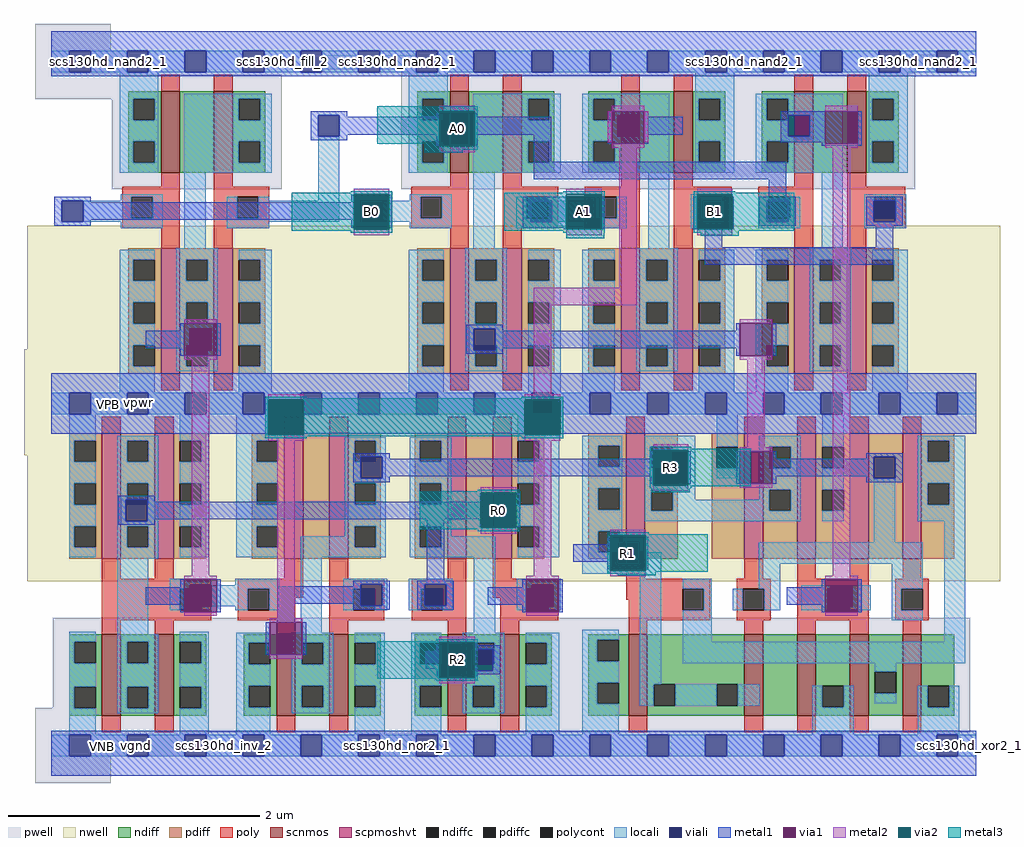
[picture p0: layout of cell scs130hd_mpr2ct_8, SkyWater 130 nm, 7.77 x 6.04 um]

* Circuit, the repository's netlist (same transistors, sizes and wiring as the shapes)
* NGSPICE file created from scs130hd_mpr2ct_8.ext - technology: sky130A

.subckt scs130hd_mpr2ct_8 A1 A0 B0 B1 R0 R1 R2 R3 VNB vgnd VPB vpwr
X0 vpwr B1 a_1131_911# VPB sky130_fd_pr__pfet_01v8_hvt ad=0.26 pd=2.52 as=0.135 ps=1.27 w=1 l=0.15
X1 vgnd a_1131_911# a_1133_47# VNB sky130_fd_pr__nfet_01v8 ad=0.08775 pd=0.92 as=0.08775 ps=0.92 w=0.65 l=0.15
X2 vpwr A1 a_665_591# VPB sky130_fd_pr__pfet_01v8_hvt ad=0.26 pd=2.52 as=0.135 ps=1.27 w=1 l=0.15
X3 vgnd a_665_591# a_915_232# VNB sky130_fd_pr__nfet_01v8 ad=0.169 pd=1.82 as=0.08775 ps=0.92 w=0.65 l=0.15
X4 a_1131_911# A0 vpwr VPB sky130_fd_pr__pfet_01v8_hvt ad=0.135 pd=1.27 as=0.26 ps=2.52 w=1 l=0.15
X5 R3 a_443_21# a_401_297# VPB sky130_fd_pr__pfet_01v8_hvt ad=0.26 pd=2.52 as=0.105 ps=1.21 w=1 l=0.15
X6 a_945_297# a_665_591# vpwr VPB sky130_fd_pr__pfet_01v8_hvt ad=0.135 pd=1.27 as=0.26 ps=2.52 w=1 l=0.15
X7 a_665_591# B0 vpwr VPB sky130_fd_pr__pfet_01v8_hvt ad=0.135 pd=1.27 as=0.26 ps=2.52 w=1 l=0.15
X8 vpwr a_443_21# a_661_297# VPB sky130_fd_pr__pfet_01v8_hvt ad=0.26 pd=2.52 as=0.105 ps=1.21 w=1 l=0.15
X9 R0 a_81_21# vpwr VPB sky130_fd_pr__pfet_01v8_hvt ad=0.135 pd=1.27 as=0.26 ps=2.52 w=1 l=0.15
X10 a_401_297# a_81_21# vpwr VPB sky130_fd_pr__pfet_01v8_hvt ad=0.105 pd=1.21 as=0.26 ps=2.52 w=1 l=0.15
X11 R1 a_915_232# vgnd VNB sky130_fd_pr__nfet_01v8 ad=0.25025 pd=1.42 as=0.208 ps=1.94 w=0.65 l=0.15
X12 vgnd B1 a_937_911# VNB sky130_fd_pr__nfet_01v8 ad=0.169 pd=1.82 as=0.08775 ps=0.92 w=0.65 l=0.15
X13 vgnd B1 a_1213_911# VNB sky130_fd_pr__nfet_01v8 ad=0.169 pd=1.82 as=0.08775 ps=0.92 w=0.65 l=0.15
X14 a_443_21# A1 vpwr VPB sky130_fd_pr__pfet_01v8_hvt ad=0.135 pd=1.27 as=0.26 ps=2.52 w=1 l=0.15
X15 vgnd a_443_21# R3 VNB sky130_fd_pr__nfet_01v8 ad=0.169 pd=1.82 as=0.08775 ps=0.92 w=0.65 l=0.15
X16 a_661_297# R0 R2 VPB sky130_fd_pr__pfet_01v8_hvt ad=0.105 pd=1.21 as=0.26 ps=2.52 w=1 l=0.15
X17 vgnd a_81_21# R0 VNB sky130_fd_pr__nfet_01v8 ad=0.169 pd=1.82 as=0.08775 ps=0.92 w=0.65 l=0.15
X18 a_665_591# A1 a_665_911# VNB sky130_fd_pr__nfet_01v8 ad=0.169 pd=1.82 as=0.08775 ps=0.92 w=0.65 l=0.15
X19 R0 a_81_21# vgnd VNB sky130_fd_pr__nfet_01v8 ad=0.08775 pd=0.92 as=0.169 ps=1.82 w=0.65 l=0.15
X20 a_1213_911# A0 a_1131_911# VNB sky130_fd_pr__nfet_01v8 ad=0.08775 pd=0.92 as=0.169 ps=1.82 w=0.65 l=0.15
X21 a_665_911# B0 vgnd VNB sky130_fd_pr__nfet_01v8 ad=0.08775 pd=0.92 as=0.169 ps=1.82 w=0.65 l=0.15
X22 vpwr A0 a_81_21# VPB sky130_fd_pr__pfet_01v8_hvt ad=0.26 pd=2.52 as=0.135 ps=1.27 w=1 l=0.15
X23 a_915_232# a_665_591# a_1301_297# VPB sky130_fd_pr__pfet_01v8_hvt ad=0.26 pd=2.52 as=0.135 ps=1.27 w=1 l=0.15
X24 R3 a_81_21# vgnd VNB sky130_fd_pr__nfet_01v8 ad=0.08775 pd=0.92 as=0.169 ps=1.82 w=0.65 l=0.15
X25 a_81_21# B0 vpwr VPB sky130_fd_pr__pfet_01v8_hvt ad=0.135 pd=1.27 as=0.26 ps=2.52 w=1 l=0.15
X26 a_1301_297# a_1131_911# vpwr VPB sky130_fd_pr__pfet_01v8_hvt ad=0.135 pd=1.27 as=0.135 ps=1.27 w=1 l=0.15
X27 a_937_911# A1 a_443_21# VNB sky130_fd_pr__nfet_01v8 ad=0.08775 pd=0.92 as=0.169 ps=1.82 w=0.65 l=0.15
X28 a_945_297# a_915_232# R1 VPB sky130_fd_pr__pfet_01v8_hvt ad=0.26 pd=2.52 as=0.3 ps=2.6 w=1 l=0.15
X29 R2 R0 vgnd VNB sky130_fd_pr__nfet_01v8 ad=0.08775 pd=0.92 as=0.169 ps=1.82 w=0.65 l=0.15
X30 a_1133_47# a_665_591# R1 VNB sky130_fd_pr__nfet_01v8 ad=0.08775 pd=0.92 as=0.25025 ps=1.42 w=0.65 l=0.15
X31 vpwr a_1131_911# a_945_297# VPB sky130_fd_pr__pfet_01v8_hvt ad=0.135 pd=1.27 as=0.135 ps=1.27 w=1 l=0.15
X32 a_915_232# a_1131_911# vgnd VNB sky130_fd_pr__nfet_01v8 ad=0.08775 pd=0.92 as=0.08775 ps=0.92 w=0.65 l=0.15
X33 vpwr a_81_21# R0 VPB sky130_fd_pr__pfet_01v8_hvt ad=0.26 pd=2.52 as=0.135 ps=1.27 w=1 l=0.15
X34 a_81_21# A0 a_205_911# VNB sky130_fd_pr__nfet_01v8 ad=0.169 pd=1.82 as=0.08775 ps=0.92 w=0.65 l=0.15
X35 a_205_911# B0 vgnd VNB sky130_fd_pr__nfet_01v8 ad=0.08775 pd=0.92 as=0.169 ps=1.82 w=0.65 l=0.15
X36 vpwr B1 a_443_21# VPB sky130_fd_pr__pfet_01v8_hvt ad=0.26 pd=2.52 as=0.135 ps=1.27 w=1 l=0.15
X37 vgnd a_443_21# R2 VNB sky130_fd_pr__nfet_01v8 ad=0.169 pd=1.82 as=0.08775 ps=0.92 w=0.65 l=0.15
.ends

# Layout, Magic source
magic
tech sky130A
magscale 1 2
<< nwell >>
rect -38 630 1510 827
rect -43 462 1510 630
rect -38 261 1510 462
<< pwell >>
rect -25 1105 95 1148
rect -25 1067 154 1105
rect 580 1098 614 1105
rect 399 1076 614 1098
rect 557 1067 614 1076
rect 1042 1067 1076 1105
rect 1318 1099 1352 1105
rect 1318 1077 1432 1099
rect 1318 1067 1375 1077
rect -25 1028 367 1067
rect 97 885 367 1028
rect 557 885 1375 1067
rect 3 60 1463 203
rect -25 21 1463 60
rect -25 -17 247 21
rect 488 -17 616 21
rect 1409 -17 1443 21
rect -25 -60 95 -17
<< scnmos >>
rect 175 911 205 1041
rect 259 911 289 1041
rect 635 911 665 1041
rect 719 911 749 1041
rect 907 911 937 1041
rect 991 911 1021 1041
rect 1183 911 1213 1041
rect 1267 911 1297 1041
rect 81 47 111 177
rect 165 47 195 177
rect 359 47 389 177
rect 443 47 473 177
rect 631 47 661 177
rect 715 47 745 177
rect 919 47 949 177
rect 1103 47 1133 177
rect 1187 47 1217 177
rect 1271 47 1301 177
rect 1355 47 1385 177
<< scpmoshvt >>
rect 175 591 205 791
rect 259 591 289 791
rect 635 591 665 791
rect 719 591 749 791
rect 907 591 937 791
rect 991 591 1021 791
rect 1183 591 1213 791
rect 1267 591 1297 791
rect 81 297 111 497
rect 165 297 195 497
rect 371 297 401 497
rect 443 297 473 497
rect 631 297 661 497
rect 703 297 733 497
rect 915 297 945 497
rect 1103 297 1133 497
rect 1187 297 1217 497
rect 1271 297 1301 497
rect 1355 297 1385 497
<< ndiff >>
rect 123 1029 175 1041
rect 123 995 131 1029
rect 165 995 175 1029
rect 123 961 175 995
rect 123 927 131 961
rect 165 927 175 961
rect 123 911 175 927
rect 205 911 259 1041
rect 289 1029 341 1041
rect 289 995 299 1029
rect 333 995 341 1029
rect 289 961 341 995
rect 289 927 299 961
rect 333 927 341 961
rect 289 911 341 927
rect 583 1029 635 1041
rect 583 995 591 1029
rect 625 995 635 1029
rect 583 961 635 995
rect 583 927 591 961
rect 625 927 635 961
rect 583 911 635 927
rect 665 911 719 1041
rect 749 1029 801 1041
rect 749 995 759 1029
rect 793 995 801 1029
rect 749 961 801 995
rect 749 927 759 961
rect 793 927 801 961
rect 749 911 801 927
rect 855 1029 907 1041
rect 855 995 863 1029
rect 897 995 907 1029
rect 855 961 907 995
rect 855 927 863 961
rect 897 927 907 961
rect 855 911 907 927
rect 937 911 991 1041
rect 1021 1029 1073 1041
rect 1021 995 1031 1029
rect 1065 995 1073 1029
rect 1021 961 1073 995
rect 1021 927 1031 961
rect 1065 927 1073 961
rect 1021 911 1073 927
rect 1131 1029 1183 1041
rect 1131 995 1139 1029
rect 1173 995 1183 1029
rect 1131 961 1183 995
rect 1131 927 1139 961
rect 1173 927 1183 961
rect 1131 911 1183 927
rect 1213 911 1267 1041
rect 1297 1029 1349 1041
rect 1297 995 1307 1029
rect 1341 995 1349 1029
rect 1297 961 1349 995
rect 1297 927 1307 961
rect 1341 927 1349 961
rect 1297 911 1349 927
rect 29 165 81 177
rect 29 131 37 165
rect 71 131 81 165
rect 29 93 81 131
rect 29 59 37 93
rect 71 59 81 93
rect 29 47 81 59
rect 111 165 165 177
rect 111 131 121 165
rect 155 131 165 165
rect 111 93 165 131
rect 111 59 121 93
rect 155 59 165 93
rect 111 47 165 59
rect 195 165 247 177
rect 195 131 205 165
rect 239 131 247 165
rect 195 93 247 131
rect 195 59 205 93
rect 239 59 247 93
rect 195 47 247 59
rect 307 163 359 177
rect 307 129 315 163
rect 349 129 359 163
rect 307 95 359 129
rect 307 61 315 95
rect 349 61 359 95
rect 307 47 359 61
rect 389 163 443 177
rect 389 129 399 163
rect 433 129 443 163
rect 389 95 443 129
rect 389 61 399 95
rect 433 61 443 95
rect 389 47 443 61
rect 473 163 525 177
rect 473 129 483 163
rect 517 129 525 163
rect 473 95 525 129
rect 473 61 483 95
rect 517 61 525 95
rect 473 47 525 61
rect 579 163 631 177
rect 579 129 587 163
rect 621 129 631 163
rect 579 95 631 129
rect 579 61 587 95
rect 621 61 631 95
rect 579 47 631 61
rect 661 163 715 177
rect 661 129 671 163
rect 705 129 715 163
rect 661 95 715 129
rect 661 61 671 95
rect 705 61 715 95
rect 661 47 715 61
rect 745 163 797 177
rect 745 129 755 163
rect 789 129 797 163
rect 745 95 797 129
rect 745 61 755 95
rect 789 61 797 95
rect 745 47 797 61
rect 855 168 919 177
rect 855 134 869 168
rect 903 134 919 168
rect 855 100 919 134
rect 855 66 869 100
rect 903 66 919 100
rect 855 47 919 66
rect 949 97 1103 177
rect 949 63 959 97
rect 993 63 1059 97
rect 1093 63 1103 97
rect 949 47 1103 63
rect 1133 47 1187 177
rect 1217 95 1271 177
rect 1217 61 1227 95
rect 1261 61 1271 95
rect 1217 47 1271 61
rect 1301 117 1355 177
rect 1301 83 1311 117
rect 1345 83 1355 117
rect 1301 47 1355 83
rect 1385 95 1437 177
rect 1385 61 1395 95
rect 1429 61 1437 95
rect 1385 47 1437 61
<< pdiff >>
rect 123 773 175 791
rect 123 739 131 773
rect 165 739 175 773
rect 123 705 175 739
rect 123 671 131 705
rect 165 671 175 705
rect 123 637 175 671
rect 123 603 131 637
rect 165 603 175 637
rect 123 591 175 603
rect 205 773 259 791
rect 205 739 215 773
rect 249 739 259 773
rect 205 705 259 739
rect 205 671 215 705
rect 249 671 259 705
rect 205 637 259 671
rect 205 603 215 637
rect 249 603 259 637
rect 205 591 259 603
rect 289 773 341 791
rect 289 739 299 773
rect 333 739 341 773
rect 289 705 341 739
rect 289 671 299 705
rect 333 671 341 705
rect 289 637 341 671
rect 289 603 299 637
rect 333 603 341 637
rect 289 591 341 603
rect 583 773 635 791
rect 583 739 591 773
rect 625 739 635 773
rect 583 705 635 739
rect 583 671 591 705
rect 625 671 635 705
rect 583 637 635 671
rect 583 603 591 637
rect 625 603 635 637
rect 583 591 635 603
rect 665 773 719 791
rect 665 739 675 773
rect 709 739 719 773
rect 665 705 719 739
rect 665 671 675 705
rect 709 671 719 705
rect 665 637 719 671
rect 665 603 675 637
rect 709 603 719 637
rect 665 591 719 603
rect 749 773 801 791
rect 749 739 759 773
rect 793 739 801 773
rect 749 705 801 739
rect 749 671 759 705
rect 793 671 801 705
rect 749 637 801 671
rect 749 603 759 637
rect 793 603 801 637
rect 749 591 801 603
rect 855 773 907 791
rect 855 739 863 773
rect 897 739 907 773
rect 855 705 907 739
rect 855 671 863 705
rect 897 671 907 705
rect 855 637 907 671
rect 855 603 863 637
rect 897 603 907 637
rect 855 591 907 603
rect 937 773 991 791
rect 937 739 947 773
rect 981 739 991 773
rect 937 705 991 739
rect 937 671 947 705
rect 981 671 991 705
rect 937 637 991 671
rect 937 603 947 637
rect 981 603 991 637
rect 937 591 991 603
rect 1021 773 1073 791
rect 1021 739 1031 773
rect 1065 739 1073 773
rect 1021 705 1073 739
rect 1021 671 1031 705
rect 1065 671 1073 705
rect 1021 637 1073 671
rect 1021 603 1031 637
rect 1065 603 1073 637
rect 1021 591 1073 603
rect 1131 773 1183 791
rect 1131 739 1139 773
rect 1173 739 1183 773
rect 1131 705 1183 739
rect 1131 671 1139 705
rect 1173 671 1183 705
rect 1131 637 1183 671
rect 1131 603 1139 637
rect 1173 603 1183 637
rect 1131 591 1183 603
rect 1213 773 1267 791
rect 1213 739 1223 773
rect 1257 739 1267 773
rect 1213 705 1267 739
rect 1213 671 1223 705
rect 1257 671 1267 705
rect 1213 637 1267 671
rect 1213 603 1223 637
rect 1257 603 1267 637
rect 1213 591 1267 603
rect 1297 773 1349 791
rect 1297 739 1307 773
rect 1341 739 1349 773
rect 1297 705 1349 739
rect 1297 671 1307 705
rect 1341 671 1349 705
rect 1297 637 1349 671
rect 1297 603 1307 637
rect 1341 603 1349 637
rect 1297 591 1349 603
rect 29 485 81 497
rect 29 451 37 485
rect 71 451 81 485
rect 29 417 81 451
rect 29 383 37 417
rect 71 383 81 417
rect 29 349 81 383
rect 29 315 37 349
rect 71 315 81 349
rect 29 297 81 315
rect 111 485 165 497
rect 111 451 121 485
rect 155 451 165 485
rect 111 417 165 451
rect 111 383 121 417
rect 155 383 165 417
rect 111 349 165 383
rect 111 315 121 349
rect 155 315 165 349
rect 111 297 165 315
rect 195 485 247 497
rect 195 451 205 485
rect 239 451 247 485
rect 195 417 247 451
rect 195 383 205 417
rect 239 383 247 417
rect 195 349 247 383
rect 195 315 205 349
rect 239 315 247 349
rect 195 297 247 315
rect 319 485 371 497
rect 319 451 327 485
rect 361 451 371 485
rect 319 417 371 451
rect 319 383 327 417
rect 361 383 371 417
rect 319 349 371 383
rect 319 315 327 349
rect 361 315 371 349
rect 319 297 371 315
rect 401 297 443 497
rect 473 485 525 497
rect 473 451 483 485
rect 517 451 525 485
rect 473 417 525 451
rect 473 383 483 417
rect 517 383 525 417
rect 473 349 525 383
rect 473 315 483 349
rect 517 315 525 349
rect 473 297 525 315
rect 579 485 631 497
rect 579 451 587 485
rect 621 451 631 485
rect 579 417 631 451
rect 579 383 587 417
rect 621 383 631 417
rect 579 349 631 383
rect 579 315 587 349
rect 621 315 631 349
rect 579 297 631 315
rect 661 297 703 497
rect 733 485 785 497
rect 733 451 743 485
rect 777 451 785 485
rect 733 417 785 451
rect 733 383 743 417
rect 777 383 785 417
rect 733 349 785 383
rect 733 315 743 349
rect 777 315 785 349
rect 733 297 785 315
rect 855 477 915 497
rect 855 443 871 477
rect 905 443 915 477
rect 855 409 915 443
rect 855 375 871 409
rect 905 375 915 409
rect 855 341 915 375
rect 855 307 871 341
rect 905 307 915 341
rect 855 297 915 307
rect 945 475 997 497
rect 945 441 955 475
rect 989 441 997 475
rect 945 407 997 441
rect 945 373 955 407
rect 989 373 997 407
rect 945 297 997 373
rect 1051 475 1103 497
rect 1051 441 1059 475
rect 1093 441 1103 475
rect 1051 297 1103 441
rect 1133 475 1187 497
rect 1133 441 1143 475
rect 1177 441 1187 475
rect 1133 407 1187 441
rect 1133 373 1143 407
rect 1177 373 1187 407
rect 1133 297 1187 373
rect 1217 475 1271 497
rect 1217 441 1227 475
rect 1261 441 1271 475
rect 1217 407 1271 441
rect 1217 373 1227 407
rect 1261 373 1271 407
rect 1217 297 1271 373
rect 1301 297 1355 497
rect 1385 485 1437 497
rect 1385 451 1395 485
rect 1429 451 1437 485
rect 1385 417 1437 451
rect 1385 383 1395 417
rect 1429 383 1437 417
rect 1385 297 1437 383
<< ndiffc >>
rect 131 995 165 1029
rect 131 927 165 961
rect 299 995 333 1029
rect 299 927 333 961
rect 591 995 625 1029
rect 591 927 625 961
rect 759 995 793 1029
rect 759 927 793 961
rect 863 995 897 1029
rect 863 927 897 961
rect 1031 995 1065 1029
rect 1031 927 1065 961
rect 1139 995 1173 1029
rect 1139 927 1173 961
rect 1307 995 1341 1029
rect 1307 927 1341 961
rect 37 131 71 165
rect 37 59 71 93
rect 121 131 155 165
rect 121 59 155 93
rect 205 131 239 165
rect 205 59 239 93
rect 315 129 349 163
rect 315 61 349 95
rect 399 129 433 163
rect 399 61 433 95
rect 483 129 517 163
rect 483 61 517 95
rect 587 129 621 163
rect 587 61 621 95
rect 671 129 705 163
rect 671 61 705 95
rect 755 129 789 163
rect 755 61 789 95
rect 869 134 903 168
rect 869 66 903 100
rect 959 63 993 97
rect 1059 63 1093 97
rect 1227 61 1261 95
rect 1311 83 1345 117
rect 1395 61 1429 95
<< pdiffc >>
rect 131 739 165 773
rect 131 671 165 705
rect 131 603 165 637
rect 215 739 249 773
rect 215 671 249 705
rect 215 603 249 637
rect 299 739 333 773
rect 299 671 333 705
rect 299 603 333 637
rect 591 739 625 773
rect 591 671 625 705
rect 591 603 625 637
rect 675 739 709 773
rect 675 671 709 705
rect 675 603 709 637
rect 759 739 793 773
rect 759 671 793 705
rect 759 603 793 637
rect 863 739 897 773
rect 863 671 897 705
rect 863 603 897 637
rect 947 739 981 773
rect 947 671 981 705
rect 947 603 981 637
rect 1031 739 1065 773
rect 1031 671 1065 705
rect 1031 603 1065 637
rect 1139 739 1173 773
rect 1139 671 1173 705
rect 1139 603 1173 637
rect 1223 739 1257 773
rect 1223 671 1257 705
rect 1223 603 1257 637
rect 1307 739 1341 773
rect 1307 671 1341 705
rect 1307 603 1341 637
rect 37 451 71 485
rect 37 383 71 417
rect 37 315 71 349
rect 121 451 155 485
rect 121 383 155 417
rect 121 315 155 349
rect 205 451 239 485
rect 205 383 239 417
rect 205 315 239 349
rect 327 451 361 485
rect 327 383 361 417
rect 327 315 361 349
rect 483 451 517 485
rect 483 383 517 417
rect 483 315 517 349
rect 587 451 621 485
rect 587 383 621 417
rect 587 315 621 349
rect 743 451 777 485
rect 743 383 777 417
rect 743 315 777 349
rect 871 443 905 477
rect 871 375 905 409
rect 871 307 905 341
rect 955 441 989 475
rect 955 373 989 407
rect 1059 441 1093 475
rect 1143 441 1177 475
rect 1143 373 1177 407
rect 1227 441 1261 475
rect 1227 373 1261 407
rect 1395 451 1429 485
rect 1395 383 1429 417
<< poly >>
rect 175 1041 205 1067
rect 259 1041 289 1067
rect 635 1041 665 1067
rect 719 1041 749 1067
rect 907 1041 937 1067
rect 991 1041 1021 1067
rect 1183 1041 1213 1067
rect 1267 1041 1297 1067
rect 175 889 205 911
rect 113 873 205 889
rect 113 839 128 873
rect 162 839 205 873
rect 113 823 205 839
rect 175 791 205 823
rect 259 889 289 911
rect 635 889 665 911
rect 259 873 347 889
rect 259 839 296 873
rect 330 839 347 873
rect 259 823 347 839
rect 573 873 665 889
rect 573 839 588 873
rect 622 839 665 873
rect 573 823 665 839
rect 259 791 289 823
rect 635 791 665 823
rect 719 889 749 911
rect 907 889 937 911
rect 719 873 807 889
rect 719 839 756 873
rect 790 839 807 873
rect 719 823 807 839
rect 849 873 937 889
rect 849 839 866 873
rect 900 839 937 873
rect 849 823 937 839
rect 719 791 749 823
rect 907 791 937 823
rect 991 889 1021 911
rect 1183 889 1213 911
rect 991 873 1083 889
rect 991 839 1034 873
rect 1068 839 1083 873
rect 991 823 1083 839
rect 1125 873 1213 889
rect 1125 839 1142 873
rect 1176 839 1213 873
rect 1125 823 1213 839
rect 991 791 1021 823
rect 1183 791 1213 823
rect 1267 889 1297 911
rect 1267 873 1359 889
rect 1267 839 1310 873
rect 1344 839 1359 873
rect 1267 823 1359 839
rect 1267 791 1297 823
rect 175 565 205 591
rect 259 565 289 591
rect 635 565 665 591
rect 719 565 749 591
rect 907 565 937 591
rect 991 565 1021 591
rect 1183 565 1213 591
rect 1267 565 1297 591
rect 81 497 111 523
rect 165 497 195 523
rect 371 497 401 523
rect 443 497 473 523
rect 631 497 661 523
rect 703 497 733 523
rect 915 497 945 523
rect 1103 497 1133 523
rect 1187 497 1217 523
rect 1271 497 1301 523
rect 1355 497 1385 523
rect 81 265 111 297
rect 165 265 195 297
rect 371 265 401 297
rect 81 249 255 265
rect 81 215 205 249
rect 239 215 255 249
rect 81 199 255 215
rect 297 249 401 265
rect 297 215 313 249
rect 347 235 401 249
rect 443 265 473 297
rect 631 265 661 297
rect 443 249 530 265
rect 347 215 389 235
rect 297 199 389 215
rect 81 177 111 199
rect 165 177 195 199
rect 359 177 389 199
rect 443 215 481 249
rect 515 215 530 249
rect 443 199 530 215
rect 574 249 661 265
rect 574 215 589 249
rect 623 215 661 249
rect 703 265 733 297
rect 915 265 945 297
rect 1103 265 1133 297
rect 1187 265 1217 297
rect 1271 265 1301 297
rect 1355 265 1385 297
rect 703 249 807 265
rect 703 235 757 249
rect 574 199 661 215
rect 443 177 473 199
rect 631 177 661 199
rect 715 215 757 235
rect 791 215 807 249
rect 915 249 1049 265
rect 915 232 1005 249
rect 715 199 807 215
rect 919 215 1005 232
rect 1039 215 1049 249
rect 919 199 1049 215
rect 1091 249 1145 265
rect 1091 215 1101 249
rect 1135 215 1145 249
rect 1091 199 1145 215
rect 1187 249 1301 265
rect 1187 215 1236 249
rect 1270 215 1301 249
rect 1187 199 1301 215
rect 1343 249 1397 265
rect 1343 215 1353 249
rect 1387 215 1397 249
rect 1343 199 1397 215
rect 715 177 745 199
rect 919 177 949 199
rect 1103 177 1133 199
rect 1187 177 1217 199
rect 1271 177 1301 199
rect 1355 177 1385 199
rect 81 21 111 47
rect 165 21 195 47
rect 359 21 389 47
rect 443 21 473 47
rect 631 21 661 47
rect 715 21 745 47
rect 919 21 949 47
rect 1103 21 1133 47
rect 1187 21 1217 47
rect 1271 21 1301 47
rect 1355 21 1385 47
<< polycont >>
rect 128 839 162 873
rect 296 839 330 873
rect 588 839 622 873
rect 756 839 790 873
rect 866 839 900 873
rect 1034 839 1068 873
rect 1142 839 1176 873
rect 1310 839 1344 873
rect 205 215 239 249
rect 313 215 347 249
rect 481 215 515 249
rect 589 215 623 249
rect 757 215 791 249
rect 1005 215 1039 249
rect 1101 215 1135 249
rect 1236 215 1270 249
rect 1353 215 1387 249
<< locali >>
rect 0 1071 29 1105
rect 63 1071 121 1105
rect 155 1071 213 1105
rect 247 1071 305 1105
rect 339 1071 397 1105
rect 431 1071 489 1105
rect 523 1071 581 1105
rect 615 1071 673 1105
rect 707 1071 765 1105
rect 799 1071 857 1105
rect 891 1071 949 1105
rect 983 1071 1041 1105
rect 1075 1071 1133 1105
rect 1167 1071 1225 1105
rect 1259 1071 1317 1105
rect 1351 1071 1409 1105
rect 1443 1071 1472 1105
rect 109 1029 171 1071
rect 109 995 131 1029
rect 165 995 171 1029
rect 109 961 171 995
rect 109 927 131 961
rect 165 927 171 961
rect 109 911 171 927
rect 212 1029 351 1037
rect 212 995 299 1029
rect 333 995 351 1029
rect 569 1029 631 1071
rect 212 961 351 995
rect 212 927 299 961
rect 333 927 351 961
rect 212 911 351 927
rect 111 873 178 877
rect 111 867 128 873
rect 51 839 128 867
rect 162 839 178 873
rect 51 833 178 839
rect 111 823 178 833
rect 212 791 246 911
rect 280 839 296 873
rect 330 867 347 873
rect 425 867 459 969
rect 569 995 591 1029
rect 625 995 631 1029
rect 569 961 631 995
rect 569 927 591 961
rect 625 927 631 961
rect 569 911 631 927
rect 672 1029 811 1037
rect 672 995 759 1029
rect 793 995 811 1029
rect 672 961 811 995
rect 672 927 759 961
rect 793 927 811 961
rect 672 911 811 927
rect 845 1029 984 1037
rect 845 995 863 1029
rect 897 1003 984 1029
rect 897 995 901 1003
rect 845 969 901 995
rect 935 969 984 1003
rect 845 961 984 969
rect 845 927 863 961
rect 897 927 984 961
rect 845 911 984 927
rect 1025 1029 1087 1071
rect 1025 995 1031 1029
rect 1065 995 1087 1029
rect 1025 961 1087 995
rect 1025 927 1031 961
rect 1065 927 1087 961
rect 1025 911 1087 927
rect 1121 1029 1260 1037
rect 1121 995 1139 1029
rect 1173 1003 1260 1029
rect 1121 969 1173 995
rect 1207 969 1260 1003
rect 1121 961 1260 969
rect 1121 927 1139 961
rect 1173 927 1260 961
rect 1121 911 1260 927
rect 1301 1029 1363 1071
rect 1301 995 1307 1029
rect 1341 995 1363 1029
rect 1301 961 1363 995
rect 1301 927 1307 961
rect 1341 927 1363 961
rect 1301 911 1363 927
rect 571 873 638 877
rect 571 867 588 873
rect 330 839 459 867
rect 280 833 459 839
rect 527 839 588 867
rect 622 839 638 873
rect 527 833 638 839
rect 280 823 347 833
rect 571 823 638 833
rect 672 791 706 911
rect 740 839 756 873
rect 790 867 807 873
rect 849 867 866 873
rect 797 839 866 867
rect 900 839 916 873
rect 740 833 763 839
rect 797 833 916 839
rect 740 823 807 833
rect 849 823 916 833
rect 950 791 984 911
rect 1018 873 1085 877
rect 1018 839 1034 873
rect 1068 867 1085 873
rect 1018 833 1037 839
rect 1071 833 1085 867
rect 1018 823 1085 833
rect 1125 867 1142 873
rect 1125 833 1139 867
rect 1176 839 1192 873
rect 1173 833 1192 839
rect 1125 823 1192 833
rect 1226 791 1260 911
rect 1294 873 1361 877
rect 1294 867 1310 873
rect 1294 833 1309 867
rect 1344 839 1361 873
rect 1343 833 1361 839
rect 1294 823 1361 833
rect 109 773 165 789
rect 109 739 131 773
rect 109 705 165 739
rect 109 671 131 705
rect 109 637 165 671
rect 109 603 131 637
rect 109 561 165 603
rect 199 773 265 791
rect 199 739 215 773
rect 249 739 265 773
rect 199 705 265 739
rect 199 671 215 705
rect 249 671 265 705
rect 199 663 265 671
rect 199 637 221 663
rect 199 603 215 637
rect 255 629 265 663
rect 249 603 265 629
rect 199 595 265 603
rect 299 773 351 789
rect 333 739 351 773
rect 299 705 351 739
rect 333 671 351 705
rect 299 637 351 671
rect 333 603 351 637
rect 299 561 351 603
rect 569 773 625 789
rect 569 739 591 773
rect 569 705 625 739
rect 569 671 591 705
rect 569 637 625 671
rect 569 603 591 637
rect 569 561 625 603
rect 659 773 725 791
rect 659 739 675 773
rect 709 739 725 773
rect 659 705 725 739
rect 659 671 675 705
rect 709 671 725 705
rect 659 663 725 671
rect 659 629 673 663
rect 707 637 725 663
rect 659 603 675 629
rect 709 603 725 637
rect 659 595 725 603
rect 759 773 811 789
rect 793 739 811 773
rect 759 705 811 739
rect 793 671 811 705
rect 759 637 811 671
rect 793 603 811 637
rect 759 561 811 603
rect 845 773 897 789
rect 845 739 863 773
rect 845 705 897 739
rect 845 671 863 705
rect 845 637 897 671
rect 845 603 863 637
rect 845 561 897 603
rect 931 773 997 791
rect 931 739 947 773
rect 981 739 997 773
rect 931 705 997 739
rect 931 671 947 705
rect 981 671 997 705
rect 931 637 997 671
rect 931 603 947 637
rect 981 603 997 637
rect 931 595 997 603
rect 1031 773 1087 789
rect 1065 739 1087 773
rect 1031 705 1087 739
rect 1065 671 1087 705
rect 1031 637 1087 671
rect 1065 603 1087 637
rect 1031 561 1087 603
rect 1121 773 1173 789
rect 1121 739 1139 773
rect 1121 705 1173 739
rect 1121 671 1139 705
rect 1121 637 1173 671
rect 1121 603 1139 637
rect 1121 561 1173 603
rect 1207 773 1273 791
rect 1207 739 1223 773
rect 1257 739 1273 773
rect 1207 705 1273 739
rect 1207 671 1223 705
rect 1257 671 1273 705
rect 1207 637 1273 671
rect 1207 603 1223 637
rect 1257 603 1273 637
rect 1207 595 1273 603
rect 1307 773 1363 789
rect 1341 739 1363 773
rect 1307 705 1363 739
rect 1341 671 1363 705
rect 1307 637 1363 671
rect 1341 603 1363 637
rect 1307 561 1363 603
rect 0 527 29 561
rect 63 527 121 561
rect 155 527 213 561
rect 247 527 305 561
rect 339 527 397 561
rect 431 527 489 561
rect 523 527 581 561
rect 615 527 673 561
rect 707 527 765 561
rect 799 527 857 561
rect 891 527 949 561
rect 983 527 1041 561
rect 1075 527 1133 561
rect 1167 527 1225 561
rect 1259 527 1317 561
rect 1351 527 1409 561
rect 1443 527 1472 561
rect 29 485 71 527
rect 29 451 37 485
rect 29 417 71 451
rect 29 383 37 417
rect 29 349 71 383
rect 29 315 37 349
rect 29 299 71 315
rect 105 485 171 493
rect 105 451 121 485
rect 155 451 171 485
rect 105 417 171 451
rect 105 391 121 417
rect 105 357 119 391
rect 155 383 171 417
rect 153 357 171 383
rect 105 349 171 357
rect 105 315 121 349
rect 155 315 171 349
rect 105 297 171 315
rect 205 485 251 527
rect 239 451 251 485
rect 205 417 251 451
rect 239 383 251 417
rect 205 349 251 383
rect 239 315 251 349
rect 205 299 251 315
rect 295 485 361 527
rect 295 451 327 485
rect 295 417 361 451
rect 295 383 327 417
rect 295 349 361 383
rect 295 315 327 349
rect 467 485 533 490
rect 467 451 483 485
rect 517 459 533 485
rect 467 425 493 451
rect 527 425 533 459
rect 467 417 533 425
rect 467 383 483 417
rect 517 383 533 417
rect 467 349 533 383
rect 467 333 483 349
rect 295 299 361 315
rect 397 315 483 333
rect 517 315 533 349
rect 397 299 533 315
rect 571 485 637 490
rect 571 451 587 485
rect 621 451 637 485
rect 571 417 637 451
rect 571 383 587 417
rect 621 383 637 417
rect 571 349 637 383
rect 571 315 587 349
rect 621 333 637 349
rect 743 485 809 527
rect 777 451 809 485
rect 743 417 809 451
rect 777 383 809 417
rect 743 349 809 383
rect 621 315 707 333
rect 571 299 707 315
rect 777 315 809 349
rect 743 299 809 315
rect 845 477 909 493
rect 845 443 871 477
rect 905 443 909 477
rect 845 409 909 443
rect 845 375 871 409
rect 905 375 909 409
rect 845 341 909 375
rect 945 475 1025 493
rect 945 441 955 475
rect 989 441 1025 475
rect 945 407 1025 441
rect 1059 475 1093 527
rect 1059 425 1093 441
rect 1127 475 1193 493
rect 1127 441 1143 475
rect 1177 441 1193 475
rect 945 373 955 407
rect 989 391 1025 407
rect 1127 407 1193 441
rect 1127 391 1143 407
rect 989 373 1143 391
rect 1177 373 1193 407
rect 945 357 1193 373
rect 1227 475 1261 527
rect 1379 485 1455 493
rect 1227 407 1261 441
rect 1227 357 1261 373
rect 845 307 871 341
rect 905 323 909 341
rect 1309 323 1343 425
rect 1379 451 1395 485
rect 1429 451 1455 485
rect 1379 417 1455 451
rect 1379 383 1395 417
rect 1429 383 1455 417
rect 1379 357 1455 383
rect 29 165 71 181
rect 29 131 37 165
rect 29 93 71 131
rect 29 59 37 93
rect 29 17 71 59
rect 105 177 155 297
rect 189 255 255 265
rect 293 255 363 265
rect 189 249 221 255
rect 255 249 363 255
rect 189 215 205 249
rect 255 221 313 249
rect 239 215 255 221
rect 293 215 313 221
rect 347 215 363 249
rect 105 165 171 177
rect 105 131 121 165
rect 155 131 171 165
rect 105 93 171 131
rect 105 59 121 93
rect 155 59 171 93
rect 105 51 171 59
rect 205 165 251 181
rect 397 179 431 299
rect 465 256 535 265
rect 465 249 493 256
rect 465 215 481 249
rect 527 222 535 256
rect 515 215 535 222
rect 569 256 639 265
rect 569 249 595 256
rect 569 215 589 249
rect 629 222 639 256
rect 623 215 639 222
rect 673 179 707 299
rect 845 289 901 307
rect 935 289 971 307
rect 845 273 971 289
rect 741 255 811 265
rect 741 249 765 255
rect 741 215 757 249
rect 799 221 811 255
rect 791 215 811 221
rect 239 131 251 165
rect 205 93 251 131
rect 239 59 251 93
rect 205 17 251 59
rect 295 163 349 179
rect 295 129 315 163
rect 295 95 349 129
rect 295 61 315 95
rect 295 17 349 61
rect 383 163 449 179
rect 383 129 399 163
rect 433 129 449 163
rect 383 95 449 129
rect 383 61 399 95
rect 433 61 449 95
rect 383 51 449 61
rect 483 163 531 179
rect 517 129 531 163
rect 483 95 531 129
rect 517 61 531 95
rect 483 17 531 61
rect 573 163 621 179
rect 573 129 587 163
rect 573 95 621 129
rect 573 61 587 95
rect 573 17 621 61
rect 655 163 721 179
rect 655 153 671 163
rect 655 119 669 153
rect 705 129 721 163
rect 703 119 721 129
rect 655 95 721 119
rect 655 61 671 95
rect 705 61 721 95
rect 655 51 721 61
rect 755 163 809 179
rect 789 129 809 163
rect 755 95 809 129
rect 789 61 809 95
rect 755 17 809 61
rect 845 168 903 184
rect 845 134 869 168
rect 845 100 903 134
rect 845 66 869 100
rect 845 17 903 66
rect 937 97 971 273
rect 1126 289 1387 323
rect 1005 249 1051 265
rect 1126 249 1160 289
rect 1039 215 1051 249
rect 1085 215 1101 249
rect 1135 215 1160 249
rect 1194 249 1241 255
rect 1194 215 1236 249
rect 1275 221 1304 255
rect 1270 215 1304 221
rect 1338 249 1387 289
rect 1338 215 1353 249
rect 1005 165 1051 215
rect 1338 199 1387 215
rect 1421 165 1455 357
rect 1005 131 1455 165
rect 1311 117 1345 131
rect 937 63 959 97
rect 993 63 1059 97
rect 1093 63 1128 97
rect 1211 61 1227 95
rect 1261 61 1277 95
rect 1311 67 1345 83
rect 1211 17 1277 61
rect 1379 61 1395 95
rect 1429 61 1445 95
rect 1379 17 1445 61
rect 0 -17 29 17
rect 63 -17 121 17
rect 155 -17 213 17
rect 247 -17 305 17
rect 339 -17 397 17
rect 431 -17 489 17
rect 523 -17 581 17
rect 615 -17 673 17
rect 707 -17 765 17
rect 799 -17 857 17
rect 891 -17 949 17
rect 983 -17 1041 17
rect 1075 -17 1133 17
rect 1167 -17 1225 17
rect 1259 -17 1317 17
rect 1351 -17 1409 17
rect 1443 -17 1472 17
<< viali >>
rect 29 1071 63 1105
rect 121 1071 155 1105
rect 213 1071 247 1105
rect 305 1071 339 1105
rect 397 1071 431 1105
rect 489 1071 523 1105
rect 581 1071 615 1105
rect 673 1071 707 1105
rect 765 1071 799 1105
rect 857 1071 891 1105
rect 949 1071 983 1105
rect 1041 1071 1075 1105
rect 1133 1071 1167 1105
rect 1225 1071 1259 1105
rect 1317 1071 1351 1105
rect 1409 1071 1443 1105
rect 425 969 459 1003
rect 17 833 51 867
rect 901 969 935 1003
rect 1173 969 1207 1003
rect 493 833 527 867
rect 763 839 790 867
rect 790 839 797 867
rect 763 833 797 839
rect 1037 839 1068 867
rect 1068 839 1071 867
rect 1037 833 1071 839
rect 1139 839 1142 867
rect 1142 839 1173 867
rect 1139 833 1173 839
rect 1309 839 1310 867
rect 1310 839 1343 867
rect 1309 833 1343 839
rect 221 637 255 663
rect 221 629 249 637
rect 249 629 255 637
rect 673 637 707 663
rect 673 629 675 637
rect 675 629 707 637
rect 29 527 63 561
rect 121 527 155 561
rect 213 527 247 561
rect 305 527 339 561
rect 397 527 431 561
rect 489 527 523 561
rect 581 527 615 561
rect 673 527 707 561
rect 765 527 799 561
rect 857 527 891 561
rect 949 527 983 561
rect 1041 527 1075 561
rect 1133 527 1167 561
rect 1225 527 1259 561
rect 1317 527 1351 561
rect 1409 527 1443 561
rect 119 383 121 391
rect 121 383 153 391
rect 119 357 153 383
rect 493 451 517 459
rect 517 451 527 459
rect 493 425 527 451
rect 1309 425 1343 459
rect 901 307 905 323
rect 905 307 935 323
rect 221 249 255 255
rect 221 221 239 249
rect 239 221 255 249
rect 493 249 527 256
rect 493 222 515 249
rect 515 222 527 249
rect 595 249 629 256
rect 595 222 623 249
rect 623 222 629 249
rect 901 289 935 307
rect 765 249 799 255
rect 765 221 791 249
rect 791 221 799 249
rect 669 129 671 153
rect 671 129 703 153
rect 669 119 703 129
rect 1241 249 1275 255
rect 1241 221 1270 249
rect 1270 221 1275 249
rect 29 -17 63 17
rect 121 -17 155 17
rect 213 -17 247 17
rect 305 -17 339 17
rect 397 -17 431 17
rect 489 -17 523 17
rect 581 -17 615 17
rect 673 -17 707 17
rect 765 -17 799 17
rect 857 -17 891 17
rect 949 -17 983 17
rect 1041 -17 1075 17
rect 1133 -17 1167 17
rect 1225 -17 1259 17
rect 1317 -17 1351 17
rect 1409 -17 1443 17
<< metal1 >>
rect 0 1105 1472 1136
rect 0 1071 29 1105
rect 63 1071 121 1105
rect 155 1071 213 1105
rect 247 1071 305 1105
rect 339 1071 397 1105
rect 431 1071 489 1105
rect 523 1071 581 1105
rect 615 1071 673 1105
rect 707 1071 765 1105
rect 799 1071 857 1105
rect 891 1071 949 1105
rect 983 1071 1041 1105
rect 1075 1071 1133 1105
rect 1167 1071 1225 1105
rect 1259 1071 1317 1105
rect 1351 1071 1409 1105
rect 1443 1071 1472 1105
rect 0 1065 1472 1071
rect 413 1003 471 1009
rect 413 969 425 1003
rect 459 1000 471 1003
rect 614 1000 620 1006
rect 459 972 620 1000
rect 459 969 471 972
rect 413 963 471 969
rect 613 966 620 972
rect 614 954 620 966
rect 672 1000 678 1006
rect 672 972 796 1000
rect 672 966 679 972
rect 672 954 678 966
rect 768 929 796 972
rect 886 957 892 1009
rect 944 1000 950 1009
rect 1161 1003 1232 1009
rect 944 972 1005 1000
rect 944 957 950 972
rect 1161 969 1173 1003
rect 1207 969 1232 1003
rect 1161 960 1232 969
rect 1226 957 1232 960
rect 1284 957 1290 1009
rect 1226 954 1290 957
rect 768 901 1170 929
rect 5 867 63 873
rect 5 833 17 867
rect 51 864 63 867
rect 478 864 484 876
rect 51 836 484 864
rect 51 833 63 836
rect 5 827 63 833
rect 478 824 484 836
rect 536 824 542 876
rect 1142 873 1170 901
rect 751 867 822 873
rect 751 833 763 867
rect 797 833 822 867
rect 751 824 822 833
rect 816 821 822 824
rect 874 821 880 873
rect 1022 821 1028 873
rect 1080 821 1086 873
rect 1127 867 1185 873
rect 1127 833 1139 867
rect 1173 833 1185 867
rect 1127 827 1185 833
rect 1297 867 1355 873
rect 1297 833 1309 867
rect 1343 833 1355 867
rect 1297 827 1355 833
rect 1040 793 1068 821
rect 1312 793 1340 827
rect 1040 765 1340 793
rect 206 660 212 672
rect 151 632 212 660
rect 206 620 212 632
rect 264 620 270 672
rect 661 663 719 669
rect 661 629 673 663
rect 707 660 719 663
rect 1090 660 1096 672
rect 707 632 1096 660
rect 707 629 719 632
rect 661 623 719 629
rect 1090 620 1096 632
rect 1148 620 1154 672
rect 0 561 1472 592
rect 0 527 29 561
rect 63 527 121 561
rect 155 527 213 561
rect 247 527 305 561
rect 339 527 397 561
rect 431 527 489 561
rect 523 527 581 561
rect 615 527 673 561
rect 707 527 765 561
rect 799 527 857 561
rect 891 527 949 561
rect 983 527 1041 561
rect 1075 527 1133 561
rect 1167 527 1225 561
rect 1259 527 1317 561
rect 1351 527 1409 561
rect 1443 527 1472 561
rect 0 496 1472 527
rect 481 459 539 465
rect 481 425 493 459
rect 527 456 539 459
rect 954 456 960 468
rect 527 428 960 456
rect 527 425 539 428
rect 481 419 539 425
rect 954 416 960 428
rect 1012 416 1018 468
rect 1090 416 1096 468
rect 1148 456 1154 468
rect 1297 459 1355 465
rect 1297 456 1309 459
rect 1148 428 1309 456
rect 1148 416 1154 428
rect 1297 425 1309 428
rect 1343 425 1355 459
rect 1297 419 1355 425
rect 107 391 165 397
rect 107 357 119 391
rect 153 388 165 391
rect 682 388 688 400
rect 153 360 688 388
rect 153 357 165 360
rect 107 351 165 357
rect 206 252 212 264
rect 151 224 212 252
rect 206 212 212 224
rect 264 212 270 264
rect 598 262 626 360
rect 682 348 688 360
rect 740 348 746 400
rect 886 320 892 332
rect 831 292 892 320
rect 886 280 892 292
rect 944 280 950 332
rect 481 256 539 262
rect 481 253 493 256
rect 360 225 493 253
rect 360 196 388 225
rect 481 222 493 225
rect 527 222 539 256
rect 481 216 539 222
rect 583 256 641 262
rect 583 222 595 256
rect 629 222 641 256
rect 750 252 756 264
rect 695 224 756 252
rect 583 216 641 222
rect 750 212 756 224
rect 808 212 814 264
rect 1226 252 1232 264
rect 1171 224 1232 252
rect 1226 212 1232 224
rect 1284 212 1290 264
rect 342 144 348 196
rect 400 144 406 196
rect 614 150 620 162
rect 672 159 678 162
rect 672 153 715 159
rect 596 122 620 150
rect 614 110 620 122
rect 703 119 715 153
rect 672 113 715 119
rect 672 110 678 113
rect 0 17 1472 23
rect 0 -17 29 17
rect 63 -17 121 17
rect 155 -17 213 17
rect 247 -17 305 17
rect 339 -17 397 17
rect 431 -17 489 17
rect 523 -17 581 17
rect 615 -17 673 17
rect 707 -17 765 17
rect 799 -17 857 17
rect 891 -17 949 17
rect 983 -17 1041 17
rect 1075 -17 1133 17
rect 1167 -17 1225 17
rect 1259 -17 1317 17
rect 1351 -17 1409 17
rect 1443 -17 1472 17
rect 0 -48 1472 -17
<< via1 >>
rect 620 954 672 1006
rect 892 1003 944 1009
rect 892 969 901 1003
rect 901 969 935 1003
rect 935 969 944 1003
rect 892 957 944 969
rect 1232 957 1284 1009
rect 484 867 536 876
rect 484 833 493 867
rect 493 833 527 867
rect 527 833 536 867
rect 484 824 536 833
rect 822 821 874 873
rect 1028 867 1080 873
rect 1028 833 1037 867
rect 1037 833 1071 867
rect 1071 833 1080 867
rect 1028 821 1080 833
rect 212 663 264 672
rect 212 629 221 663
rect 221 629 255 663
rect 255 629 264 663
rect 212 620 264 629
rect 1096 620 1148 672
rect 960 416 1012 468
rect 1096 416 1148 468
rect 212 255 264 264
rect 212 221 221 255
rect 221 221 255 255
rect 255 221 264 255
rect 212 212 264 221
rect 688 348 740 400
rect 892 323 944 332
rect 892 289 901 323
rect 901 289 935 323
rect 935 289 944 323
rect 892 280 944 289
rect 756 255 808 264
rect 756 221 765 255
rect 765 221 799 255
rect 799 221 808 255
rect 756 212 808 221
rect 1232 255 1284 264
rect 1232 221 1241 255
rect 1241 221 1275 255
rect 1275 221 1284 255
rect 1232 212 1284 221
rect 348 144 400 196
rect 620 153 672 162
rect 620 119 669 153
rect 669 119 672 153
rect 620 110 672 119
<< metal2 >>
rect 618 1009 674 1018
rect 892 1009 944 1018
rect 1232 1009 1284 1018
rect 886 960 892 1009
rect 618 944 674 953
rect 944 960 950 1009
rect 892 951 944 957
rect 1232 951 1284 957
rect 482 877 538 886
rect 482 812 538 821
rect 820 877 876 886
rect 820 812 876 821
rect 904 728 932 951
rect 1028 877 1084 886
rect 1028 812 1084 821
rect 768 700 932 728
rect 212 672 264 678
rect 212 614 264 620
rect 224 270 252 614
rect 768 559 796 700
rect 1096 672 1148 678
rect 1096 614 1148 620
rect 346 550 402 559
rect 346 485 402 494
rect 754 550 810 559
rect 754 485 810 494
rect 212 264 264 270
rect 212 206 264 212
rect 360 202 388 485
rect 684 402 740 411
rect 684 337 740 346
rect 768 270 796 485
rect 958 470 1014 479
rect 1108 474 1136 614
rect 958 405 1014 414
rect 1096 468 1148 474
rect 1096 410 1148 416
rect 890 334 946 343
rect 756 264 808 270
rect 890 269 946 278
rect 1244 270 1272 951
rect 756 206 808 212
rect 1232 264 1284 270
rect 1232 206 1284 212
rect 348 196 400 202
rect 348 138 400 144
rect 618 164 674 173
rect 618 99 674 108
<< via2 >>
rect 618 1006 674 1009
rect 618 954 620 1006
rect 620 954 672 1006
rect 672 954 674 1006
rect 618 953 674 954
rect 482 876 538 877
rect 482 824 484 876
rect 484 824 536 876
rect 536 824 538 876
rect 482 821 538 824
rect 820 873 876 877
rect 820 821 822 873
rect 822 821 874 873
rect 874 821 876 873
rect 1028 873 1084 877
rect 1028 821 1080 873
rect 1080 821 1084 873
rect 346 494 402 550
rect 754 494 810 550
rect 684 400 740 402
rect 684 348 688 400
rect 688 348 740 400
rect 684 346 740 348
rect 958 468 1014 470
rect 958 416 960 468
rect 960 416 1012 468
rect 1012 416 1014 468
rect 958 414 1014 416
rect 890 332 946 334
rect 890 280 892 332
rect 892 280 944 332
rect 944 280 946 332
rect 890 278 946 280
rect 618 162 674 164
rect 618 110 620 162
rect 620 110 672 162
rect 672 110 674 162
rect 618 108 674 110
<< metal3 >>
rect 519 1009 679 1017
rect 519 957 618 1009
rect 595 953 618 957
rect 674 953 679 1009
rect 595 948 679 953
rect 595 943 655 948
rect 477 879 543 882
rect 815 879 881 882
rect 383 877 543 879
rect 383 821 482 877
rect 538 821 543 877
rect 383 819 543 821
rect 721 877 881 879
rect 721 821 820 877
rect 876 821 881 877
rect 721 819 881 821
rect 477 816 543 819
rect 815 816 881 819
rect 1023 879 1089 882
rect 1023 877 1183 879
rect 1023 821 1028 877
rect 1084 821 1183 877
rect 1023 819 1183 821
rect 1023 816 1094 819
rect 820 807 880 816
rect 1034 811 1094 816
rect 341 552 407 555
rect 749 552 815 555
rect 341 550 815 552
rect 341 494 346 550
rect 402 494 754 550
rect 810 494 815 550
rect 341 492 815 494
rect 341 489 407 492
rect 749 489 815 492
rect 953 472 1019 475
rect 953 470 1113 472
rect 953 414 958 470
rect 1014 414 1113 470
rect 953 412 1113 414
rect 953 409 1019 412
rect 679 404 745 407
rect 587 402 747 404
rect 956 403 1016 409
rect 587 346 684 402
rect 740 346 747 402
rect 587 344 747 346
rect 679 341 745 344
rect 885 336 951 339
rect 885 334 1045 336
rect 885 278 890 334
rect 946 278 1045 334
rect 885 276 1045 278
rect 885 273 962 276
rect 902 271 962 273
rect 613 166 679 169
rect 519 164 679 166
rect 519 108 618 164
rect 674 108 679 164
rect 519 106 679 108
rect 611 105 679 106
rect 613 103 679 105
<< labels >>
rlabel comment s 1472 0 1472 0 4 scs130hd_xor2_1
rlabel comment s 552 0 552 0 4 scs130hd_nor2_1
rlabel comment s 552 0 552 0 4 scs130hd_nor2_1
rlabel comment s 1104 1088 1104 1088 4 scs130hd_nand2_1
rlabel comment s 1380 1088 1380 1088 4 scs130hd_nand2_1
rlabel comment s 552 1088 552 1088 4 scs130hd_nand2_1
rlabel comment s 92 1088 92 1088 4 scs130hd_nand2_1
rlabel comment s 276 0 276 0 4 scs130hd_inv_2
rlabel comment s 368 1088 368 1088 4 scs130hd_fill_2
rlabel comment s 1380 1088 1380 1088 4 scs130hd_fill_1
rlabel comment s 0 1088 0 1088 4 scs130hd_fill_1
rlabel comment s 0 1088 0 1088 4 fill_T_1_1
rlabel metal3 s 815 816 881 882 4 A1
port 7 nsew
rlabel metal3 s 477 816 543 882 4 B0
port 15 nsew
rlabel metal3 s 1023 816 1089 882 4 B1
port 16 nsew
rlabel metal3 s 679 341 745 407 4 R0
port 17 nsew
rlabel metal3 s 885 273 951 339 4 R1
port 18 nsew
rlabel metal3 s 613 103 679 169 4 R2
port 19 nsew
rlabel metal3 s 953 409 1019 475 4 R3
port 20 nsew
rlabel pwell 82 -1 82 -1 1 VNB
port 21 n
rlabel metal1 136 0 136 0 1 vgnd
port 22 n
rlabel nwell 92 542 92 542 1 VPB
port 23 n
rlabel metal1 139 545 139 545 1 vpwr
port 24 n
rlabel pwell 46 1087 46 1087 1 VNB
port 21 n
rlabel viali 138 1089 138 1089 1 vgnd
port 22 n
rlabel metal3 s 613 948 679 1014 4 A0
port 14 nsew
<< properties >>
string FIXED_BBOX 0 0 1472 1088
string path 4.915 2.210 5.415 2.210 
<< end >>
